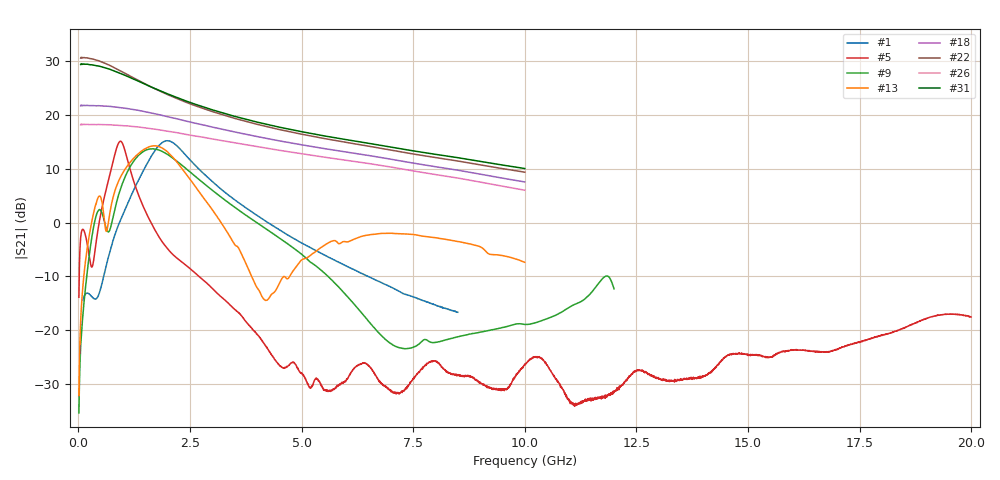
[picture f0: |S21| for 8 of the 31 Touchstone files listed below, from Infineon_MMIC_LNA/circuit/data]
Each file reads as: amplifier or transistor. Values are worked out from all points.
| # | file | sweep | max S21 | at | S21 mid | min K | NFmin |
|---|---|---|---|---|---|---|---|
| 1 | BGA735N16_MB_2p8V_HighGain.s2p | 101.2 MHz to 8.5 GHz | 15.2 dB | 1.987 GHz | -0.3 dB at 4.303 GHz | 3.36 | 0.85 dB |
| 2 | BGA748L16_LNA1_B1MB_2p8V_HighGain.s2p | 10 MHz to 20 GHz | 16.1 dB | 2.109 GHz | -20.4 dB at 10.01 GHz | 0.30 | 0.89 dB |
| 3 | BGA748L16_LNA2_B2MB_2p8V_HighGain.s2p | 10 MHz to 20 GHz | 15.8 dB | 1.889 GHz | -24.4 dB at 10.01 GHz | -0.81 | 0.87 dB |
| 4 | BGA748L16_LNA3_B5LB_2p8V_HighGain.s2p | 10 MHz to 20 GHz | 15.1 dB | 894.6 MHz | -37.8 dB at 10.01 GHz | 0.77 | 0.86 dB |
| 5 | BGA748L16_LNA4_B8LB_2p8V_HighGain.s2p | 10 MHz to 20 GHz | 15.1 dB | 939.5 MHz | -26.3 dB at 10.01 GHz | 1.13 | 0.82 dB |
| 6 | BGA751N7_2p8V_HighGain.s2p | 202.2 MHz to 8.5 GHz | 14.7 dB | 903.4 MHz | -14.8 dB at 4.351 GHz | 3.92 | 0.79 dB |
| 7 | BGA824N6_1p8V.s2p | 50 MHz to 10 GHz | 15.3 dB | 1.585 GHz | 2.2 dB at 3.23 GHz | 1.14 | 0.59 dB |
| 8 | BGA824N6_2p8V.s2p | 50 MHz to 10 GHz | 15.4 dB | 1.593 GHz | 2.2 dB at 3.23 GHz | 1.17 | 0.59 dB |
| 9 | BGA915N7_1p8V.s2p | 10 MHz to 12 GHz | 13.7 dB | 1.651 GHz | -1.2 dB at 4.21 GHz | 1.06 | 0.54 dB |
| 10 | BGA915N7_2p8V.s2p | 10 MHz to 12 GHz | 13.8 dB | 1.67 GHz | -1.1 dB at 4.21 GHz | -9.86 | 0.54 dB |
| 11 | BGA924N6_1p8V.s2p | 300 kHz to 10 GHz | 14.7 dB | 1.638 GHz | -5.0 dB at 5 GHz | 1.17 | 0.58 dB |
| 12 | BGA924N6_2p8V.s2p | 300 kHz to 10 GHz | 14.8 dB | 1.638 GHz | -5.0 dB at 5 GHz | 1.19 | 0.58 dB |
| 13 | BGA925L6_2p8V.s2p | 10 MHz to 10 GHz | 14.3 dB | 1.702 GHz | 11.6 dB at 2.172 GHz | -13.88 | 0.56 dB |
| 14 | BGB707L7ESD_1V81M6.s2p | 50 MHz to 10 GHz | 14.6 dB | 60 MHz | 14.2 dB at 1.4 GHz | -0.07 | - |
| 15 | BGB707L7ESD_1V82M1.s2p | 50 MHz to 10 GHz | 16.7 dB | 60 MHz | 16.2 dB at 1.4 GHz | -0.05 | 0.40 dB |
| 16 | BGB707L7ESD_1V82M6.s2p | 50 MHz to 10 GHz | 18.4 dB | 60 MHz | 17.7 dB at 1.4 GHz | -0.04 | 0.40 dB |
| 17 | BGB707L7ESD_1V83M0.s2p | 50 MHz to 10 GHz | 19.4 dB | 60 MHz | 18.7 dB at 1.4 GHz | -0.10 | 0.40 dB |
| 18 | BGB707L7ESD_1V84M2.s2p | 50 MHz to 10 GHz | 21.9 dB | 60 MHz | 20.8 dB at 1.4 GHz | -0.02 | - |
| 19 | BGB707L7ESD_1V86M0.s2p | 50 MHz to 10 GHz | 24.3 dB | 60 MHz | 22.7 dB at 1.4 GHz | -0.02 | 0.45 dB |
| 20 | BGB707L7ESD_1V810M.s2p | 50 MHz to 10 GHz | 27.5 dB | 60 MHz | 24.9 dB at 1.4 GHz | -0.12 | 0.55 dB |
| 21 | BGB707L7ESD_1V815M.s2p | 50 MHz to 10 GHz | 29.6 dB | 60 MHz | 26.0 dB at 1.4 GHz | -0.10 | - |
| 22 | BGB707L7ESD_1V820M.s2p | 50 MHz to 10 GHz | 30.8 dB | 60 MHz | 26.2 dB at 1.4 GHz | 0.02 | - |
| 23 | BGB707L7ESD_1V825M.s2p | 50 MHz to 10 GHz | 29.7 dB | 60 MHz | 23.4 dB at 1.4 GHz | 0.27 | - |
| 24 | BGB707L7ESD_2V51M6.s2p | 50 MHz to 10 GHz | 14.6 dB | 60 MHz | 14.2 dB at 1.4 GHz | -0.12 | - |
| 25 | BGB707L7ESD_2V52M1.s2p | 50 MHz to 10 GHz | 16.7 dB | 60 MHz | 16.2 dB at 1.4 GHz | -0.03 | 0.40 dB |
| 26 | BGB707L7ESD_2V52M6.s2p | 50 MHz to 10 GHz | 18.4 dB | 60 MHz | 17.7 dB at 1.4 GHz | -0.16 | 0.40 dB |
| 27 | BGB707L7ESD_2V53M0.s2p | 50 MHz to 10 GHz | 19.4 dB | 60 MHz | 18.7 dB at 1.4 GHz | -0.16 | 0.40 dB |
| 28 | BGB707L7ESD_2V54M2.s2p | 50 MHz to 10 GHz | 21.9 dB | 60 MHz | 20.8 dB at 1.4 GHz | -0.13 | - |
| 29 | BGB707L7ESD_2V56M0.s2p | 50 MHz to 10 GHz | 24.3 dB | 60 MHz | 22.8 dB at 1.4 GHz | -0.01 | 0.45 dB |
| 30 | BGB707L7ESD_2V510M.s2p | 50 MHz to 10 GHz | 27.5 dB | 60 MHz | 24.9 dB at 1.4 GHz | -0.05 | 0.55 dB |
| 31 | BGB707L7ESD_2V515M.s2p | 50 MHz to 10 GHz | 29.6 dB | 60 MHz | 26.1 dB at 1.4 GHz | -0.02 | - |

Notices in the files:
DesignKits/Infineon_MMIC_LNA/circuit/data/BGA824N6_1p8V.s2p:
(c) 2013 Infineon Technologies AG
DesignKits/Infineon_MMIC_LNA/circuit/data/BGA925L6_2p8V.s2p:
(c) 2011 Infineon Technologies AG
DesignKits/Infineon_MMIC_LNA/circuit/data/BGB707L7ESD_1V810M.s2p:
(c) 2009  Infineon Technologies AG, Munich
